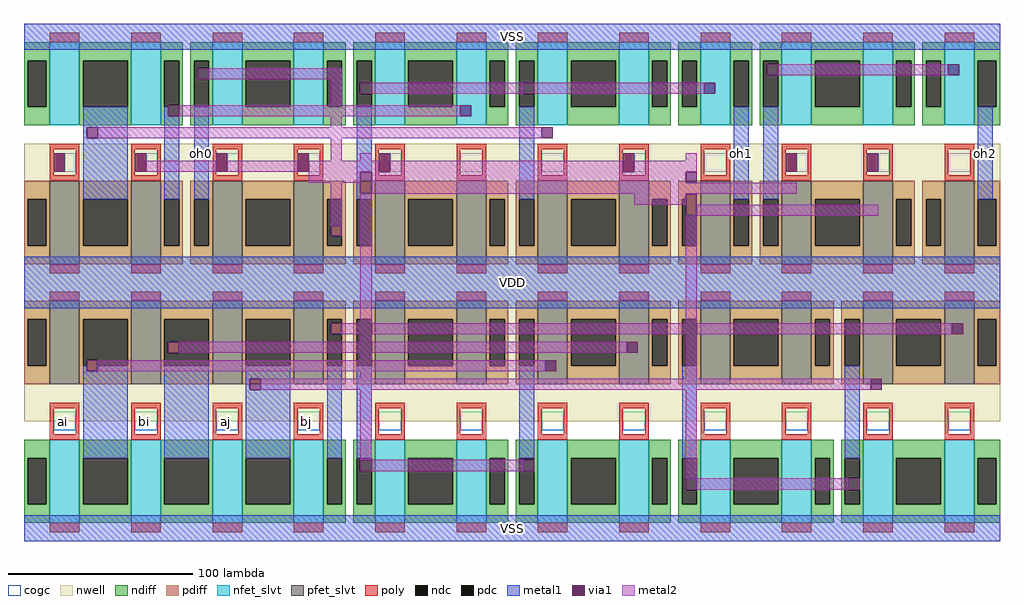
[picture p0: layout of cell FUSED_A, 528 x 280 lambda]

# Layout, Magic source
magic
tech asap5
<< nwell >>
rect 0 65 528 215
<< poly >>
rect 14 270 30 275
rect 58 270 74 275
rect 102 270 118 275
rect 146 270 162 275
rect 190 270 206 275
rect 234 270 250 275
rect 278 270 294 275
rect 322 270 338 275
rect 366 270 382 275
rect 410 270 426 275
rect 454 270 470 275
rect 498 270 514 275
rect 14 212 30 215
rect 14 210 16 212
rect 14 200 22 210
rect 14 198 16 200
rect 28 198 30 212
rect 14 195 30 198
rect 58 212 74 215
rect 58 210 60 212
rect 58 200 66 210
rect 58 198 60 200
rect 72 198 74 212
rect 58 195 74 198
rect 102 212 118 215
rect 102 210 104 212
rect 102 200 110 210
rect 102 198 104 200
rect 116 198 118 212
rect 102 195 118 198
rect 146 212 162 215
rect 146 210 148 212
rect 146 200 154 210
rect 146 198 148 200
rect 160 198 162 212
rect 146 195 162 198
rect 190 212 206 215
rect 190 210 192 212
rect 190 200 198 210
rect 190 198 192 200
rect 204 198 206 212
rect 190 195 206 198
rect 234 212 250 215
rect 234 198 236 212
rect 248 198 250 212
rect 234 195 250 198
rect 278 212 294 215
rect 278 198 280 212
rect 292 198 294 212
rect 278 195 294 198
rect 322 212 338 215
rect 322 210 324 212
rect 322 200 330 210
rect 322 198 324 200
rect 336 198 338 212
rect 322 195 338 198
rect 366 212 382 215
rect 366 198 368 212
rect 380 198 382 212
rect 366 195 382 198
rect 410 212 426 215
rect 410 210 412 212
rect 410 200 418 210
rect 410 198 412 200
rect 424 198 426 212
rect 410 195 426 198
rect 454 212 470 215
rect 454 210 456 212
rect 454 200 462 210
rect 454 198 456 200
rect 468 198 470 212
rect 454 195 470 198
rect 498 212 514 215
rect 498 198 500 212
rect 512 198 514 212
rect 498 195 514 198
rect 14 145 30 150
rect 58 145 74 150
rect 102 145 118 150
rect 146 145 162 150
rect 190 145 206 150
rect 234 145 250 150
rect 278 145 294 150
rect 322 145 338 150
rect 366 145 382 150
rect 410 145 426 150
rect 454 145 470 150
rect 498 145 514 150
rect 14 130 30 135
rect 58 130 74 135
rect 102 130 118 135
rect 146 130 162 135
rect 190 130 206 135
rect 234 130 250 135
rect 278 130 294 135
rect 322 130 338 135
rect 366 130 382 135
rect 410 130 426 135
rect 454 130 470 135
rect 498 130 514 135
rect 14 72 30 75
rect 14 58 16 72
rect 28 58 30 72
rect 14 55 30 58
rect 58 72 74 75
rect 58 58 60 72
rect 72 58 74 72
rect 58 55 74 58
rect 102 72 118 75
rect 102 58 104 72
rect 116 58 118 72
rect 102 55 118 58
rect 146 72 162 75
rect 146 58 148 72
rect 160 58 162 72
rect 146 55 162 58
rect 190 72 206 75
rect 190 58 192 72
rect 204 58 206 72
rect 190 55 206 58
rect 234 72 250 75
rect 234 58 236 72
rect 248 58 250 72
rect 234 55 250 58
rect 278 72 294 75
rect 278 58 280 72
rect 292 58 294 72
rect 278 55 294 58
rect 322 72 338 75
rect 322 58 324 72
rect 336 58 338 72
rect 322 55 338 58
rect 366 72 382 75
rect 366 58 368 72
rect 380 58 382 72
rect 366 55 382 58
rect 410 72 426 75
rect 410 58 412 72
rect 424 58 426 72
rect 410 55 426 58
rect 454 72 470 75
rect 454 58 456 72
rect 468 58 470 72
rect 454 55 470 58
rect 498 72 514 75
rect 498 58 500 72
rect 512 58 514 72
rect 498 55 514 58
rect 14 5 30 10
rect 58 5 74 10
rect 102 5 118 10
rect 146 5 162 10
rect 190 5 206 10
rect 234 5 250 10
rect 278 5 294 10
rect 322 5 338 10
rect 366 5 382 10
rect 410 5 426 10
rect 454 5 470 10
rect 498 5 514 10
<< ndiff >>
rect 0 260 14 270
rect 0 235 2 260
rect 12 235 14 260
rect 0 225 14 235
rect 30 260 58 270
rect 30 235 32 260
rect 56 235 58 260
rect 30 225 58 235
rect 74 260 86 270
rect 74 235 76 260
rect 84 236 86 260
rect 78 235 86 236
rect 74 225 86 235
rect 90 260 102 270
rect 90 235 92 260
rect 100 256 102 260
rect 94 250 102 256
rect 100 235 102 250
rect 90 225 102 235
rect 118 260 146 270
rect 118 235 120 260
rect 144 235 146 260
rect 118 225 146 235
rect 162 260 174 270
rect 162 235 164 260
rect 172 235 174 260
rect 162 225 174 235
rect 178 260 190 270
rect 178 235 180 260
rect 188 248 190 260
rect 182 242 190 248
rect 188 235 190 242
rect 178 225 190 235
rect 206 260 234 270
rect 206 235 208 260
rect 232 235 234 260
rect 206 225 234 235
rect 250 260 262 270
rect 250 235 252 260
rect 260 235 262 260
rect 250 225 262 235
rect 266 260 278 270
rect 266 235 268 260
rect 276 248 278 260
rect 270 242 278 248
rect 276 235 278 242
rect 266 225 278 235
rect 294 260 322 270
rect 294 235 296 260
rect 320 235 322 260
rect 294 225 322 235
rect 338 260 350 270
rect 338 235 340 260
rect 348 235 350 260
rect 338 225 350 235
rect 354 260 366 270
rect 354 235 356 260
rect 364 235 366 260
rect 354 225 366 235
rect 382 260 394 270
rect 382 235 384 260
rect 392 235 394 260
rect 382 225 394 235
rect 398 260 410 270
rect 398 235 400 260
rect 408 258 410 260
rect 402 252 410 258
rect 408 235 410 252
rect 398 225 410 235
rect 426 260 454 270
rect 426 235 428 260
rect 452 235 454 260
rect 426 225 454 235
rect 470 260 482 270
rect 470 235 472 260
rect 480 235 482 260
rect 470 225 482 235
rect 486 260 498 270
rect 486 235 488 260
rect 496 235 498 260
rect 486 225 498 235
rect 514 260 528 270
rect 514 235 516 260
rect 526 235 528 260
rect 514 225 528 235
rect 0 45 14 55
rect 0 20 2 45
rect 12 20 14 45
rect 0 10 14 20
rect 30 45 58 55
rect 30 20 32 45
rect 56 20 58 45
rect 30 10 58 20
rect 74 45 102 55
rect 74 20 76 45
rect 100 20 102 45
rect 74 10 102 20
rect 118 45 146 55
rect 118 20 120 45
rect 144 20 146 45
rect 118 10 146 20
rect 162 45 174 55
rect 162 20 164 45
rect 172 20 174 45
rect 162 10 174 20
rect 178 45 190 55
rect 178 20 180 45
rect 188 44 190 45
rect 182 38 190 44
rect 188 20 190 38
rect 178 10 190 20
rect 206 45 234 55
rect 206 20 208 45
rect 232 20 234 45
rect 206 10 234 20
rect 250 45 262 55
rect 250 20 252 45
rect 260 20 262 45
rect 250 10 262 20
rect 266 45 278 55
rect 266 20 268 45
rect 276 44 278 45
rect 270 38 278 44
rect 276 20 278 38
rect 266 10 278 20
rect 294 45 322 55
rect 294 20 296 45
rect 320 20 322 45
rect 294 10 322 20
rect 338 45 350 55
rect 338 20 340 45
rect 348 20 350 45
rect 338 10 350 20
rect 354 45 366 55
rect 354 20 356 45
rect 364 34 366 45
rect 358 28 366 34
rect 364 20 366 28
rect 354 10 366 20
rect 382 45 410 55
rect 382 20 384 45
rect 408 20 410 45
rect 382 10 410 20
rect 426 45 438 55
rect 426 20 428 45
rect 436 20 438 45
rect 426 10 438 20
rect 442 45 454 55
rect 442 20 444 45
rect 452 34 454 45
rect 446 28 454 34
rect 452 20 454 28
rect 442 10 454 20
rect 470 45 498 55
rect 470 20 472 45
rect 496 20 498 45
rect 470 10 498 20
rect 514 45 528 55
rect 514 20 516 45
rect 526 20 528 45
rect 514 10 528 20
<< pdiff >>
rect 0 185 14 195
rect 0 160 2 185
rect 12 160 14 185
rect 0 150 14 160
rect 30 185 58 195
rect 30 160 32 185
rect 56 160 58 185
rect 30 150 58 160
rect 74 185 86 195
rect 74 160 76 185
rect 84 160 86 185
rect 74 150 86 160
rect 90 185 102 195
rect 90 160 92 185
rect 100 160 102 185
rect 90 150 102 160
rect 118 185 146 195
rect 118 160 120 185
rect 144 160 146 185
rect 118 150 146 160
rect 162 185 174 195
rect 162 160 164 185
rect 172 171 174 185
rect 166 165 174 171
rect 172 160 174 165
rect 162 150 174 160
rect 178 185 190 195
rect 178 160 180 185
rect 188 160 190 185
rect 178 150 190 160
rect 206 185 234 195
rect 206 160 208 185
rect 232 160 234 185
rect 206 150 234 160
rect 250 185 262 195
rect 250 160 252 185
rect 260 160 262 185
rect 250 150 262 160
rect 266 185 278 195
rect 266 160 268 185
rect 276 160 278 185
rect 266 150 278 160
rect 294 185 322 195
rect 294 160 296 185
rect 320 160 322 185
rect 294 150 322 160
rect 338 185 350 195
rect 338 160 340 185
rect 348 160 350 185
rect 338 150 350 160
rect 354 185 366 195
rect 354 160 356 185
rect 358 176 366 185
rect 364 160 366 176
rect 354 150 366 160
rect 382 185 394 195
rect 382 160 384 185
rect 392 160 394 185
rect 382 150 394 160
rect 398 185 410 195
rect 398 160 400 185
rect 408 160 410 185
rect 398 150 410 160
rect 426 185 454 195
rect 426 160 428 185
rect 452 160 454 185
rect 426 150 454 160
rect 470 185 482 195
rect 470 160 472 185
rect 480 160 482 185
rect 470 150 482 160
rect 486 185 498 195
rect 486 160 488 185
rect 496 160 498 185
rect 486 150 498 160
rect 514 185 528 195
rect 514 160 516 185
rect 526 160 528 185
rect 514 150 528 160
rect 0 120 14 130
rect 0 95 2 120
rect 12 95 14 120
rect 0 85 14 95
rect 30 120 58 130
rect 30 95 32 120
rect 34 95 40 98
rect 56 95 58 120
rect 30 85 58 95
rect 74 120 102 130
rect 74 95 76 120
rect 78 102 84 108
rect 100 95 102 120
rect 74 85 102 95
rect 118 120 146 130
rect 118 95 120 120
rect 144 95 146 120
rect 118 85 146 95
rect 162 120 174 130
rect 162 95 164 120
rect 172 118 174 120
rect 166 112 174 118
rect 172 95 174 112
rect 162 85 174 95
rect 178 120 190 130
rect 178 95 180 120
rect 188 95 190 120
rect 178 85 190 95
rect 206 120 234 130
rect 206 95 208 120
rect 232 95 234 120
rect 206 85 234 95
rect 250 120 262 130
rect 250 95 252 120
rect 260 95 262 120
rect 250 85 262 95
rect 266 120 278 130
rect 266 95 268 120
rect 276 95 278 120
rect 266 85 278 95
rect 294 120 322 130
rect 294 95 296 120
rect 320 95 322 120
rect 294 85 322 95
rect 338 120 350 130
rect 338 95 340 120
rect 348 95 350 120
rect 338 85 350 95
rect 354 120 366 130
rect 354 95 356 120
rect 364 95 366 120
rect 354 85 366 95
rect 382 120 410 130
rect 382 95 384 120
rect 408 95 410 120
rect 382 85 410 95
rect 426 120 438 130
rect 426 95 428 120
rect 436 95 438 120
rect 426 85 438 95
rect 442 120 454 130
rect 442 95 444 120
rect 452 95 454 120
rect 442 85 454 95
rect 470 120 498 130
rect 470 95 472 120
rect 496 95 498 120
rect 470 85 498 95
rect 514 120 528 130
rect 514 95 516 120
rect 526 95 528 120
rect 514 85 528 95
<< nfet_slvt >>
rect 14 225 30 270
rect 58 225 74 270
rect 102 225 118 270
rect 146 225 162 270
rect 190 225 206 270
rect 234 225 250 270
rect 278 225 294 270
rect 322 225 338 270
rect 366 225 382 270
rect 410 225 426 270
rect 454 225 470 270
rect 498 225 514 270
rect 14 10 30 55
rect 58 10 74 55
rect 102 10 118 55
rect 146 10 162 55
rect 190 10 206 55
rect 234 10 250 55
rect 278 10 294 55
rect 322 10 338 55
rect 366 10 382 55
rect 410 10 426 55
rect 454 10 470 55
rect 498 10 514 55
<< pfet_slvt >>
rect 14 150 30 195
rect 58 150 74 195
rect 102 150 118 195
rect 146 150 162 195
rect 190 150 206 195
rect 234 150 250 195
rect 278 150 294 195
rect 322 150 338 195
rect 366 150 382 195
rect 410 150 426 195
rect 454 150 470 195
rect 498 150 514 195
rect 14 85 30 130
rect 58 85 74 130
rect 102 85 118 130
rect 146 85 162 130
rect 190 85 206 130
rect 234 85 250 130
rect 278 85 294 130
rect 322 85 338 130
rect 366 85 382 130
rect 410 85 426 130
rect 454 85 470 130
rect 498 85 514 130
<< metal1 >>
rect 0 266 528 280
rect 32 224 56 235
rect 32 218 34 224
rect 40 218 56 224
rect 32 185 56 218
rect 76 230 78 235
rect 76 185 84 230
rect 92 185 100 235
rect 180 200 188 235
rect 180 188 182 200
rect 180 185 188 188
rect 268 185 276 235
rect 384 185 392 235
rect 400 185 408 235
rect 516 185 524 235
rect 0 126 528 154
rect 32 92 34 95
rect 40 92 56 95
rect 32 45 56 92
rect 76 45 100 95
rect 120 88 144 95
rect 120 82 122 88
rect 128 82 144 88
rect 120 45 144 82
rect 164 45 172 95
rect 180 45 188 95
rect 268 45 276 95
rect 356 45 364 95
rect 444 45 452 95
rect 0 0 528 14
<< cogc >>
rect 22 200 28 210
rect 66 200 72 210
rect 110 200 116 210
rect 154 200 160 210
rect 198 200 204 210
rect 236 200 248 210
rect 280 200 292 210
rect 330 200 336 210
rect 368 200 380 210
rect 418 200 424 210
rect 462 200 468 210
rect 500 200 512 210
rect 16 60 28 70
rect 60 60 72 70
rect 104 60 116 70
rect 148 60 160 70
rect 192 60 204 70
rect 236 60 248 70
rect 280 60 292 70
rect 324 60 336 70
rect 368 60 380 70
rect 412 60 424 70
rect 456 60 468 70
rect 500 60 512 70
<< ndc >>
rect 2 235 12 260
rect 32 235 56 260
rect 76 236 84 260
rect 76 235 78 236
rect 92 256 100 260
rect 92 250 94 256
rect 92 235 100 250
rect 120 235 144 260
rect 164 235 172 260
rect 180 248 188 260
rect 180 242 182 248
rect 180 235 188 242
rect 208 235 232 260
rect 252 235 260 260
rect 268 248 276 260
rect 268 242 270 248
rect 268 235 276 242
rect 296 235 320 260
rect 340 235 348 260
rect 356 235 364 260
rect 384 235 392 260
rect 400 258 408 260
rect 400 252 402 258
rect 400 235 408 252
rect 428 235 452 260
rect 472 235 480 260
rect 488 235 496 260
rect 516 235 526 260
rect 2 20 12 45
rect 32 20 56 45
rect 76 20 100 45
rect 120 20 144 45
rect 164 20 172 45
rect 180 44 188 45
rect 180 38 182 44
rect 180 20 188 38
rect 208 20 232 45
rect 252 20 260 45
rect 268 44 276 45
rect 268 38 270 44
rect 268 20 276 38
rect 296 20 320 45
rect 340 20 348 45
rect 356 34 364 45
rect 356 28 358 34
rect 356 20 364 28
rect 384 20 408 45
rect 428 20 436 45
rect 444 34 452 45
rect 444 28 446 34
rect 444 20 452 28
rect 472 20 496 45
rect 516 20 526 45
<< pdc >>
rect 2 160 12 185
rect 32 160 56 185
rect 76 160 84 185
rect 92 160 100 185
rect 120 160 144 185
rect 164 171 172 185
rect 164 165 166 171
rect 164 160 172 165
rect 180 160 188 185
rect 208 160 232 185
rect 252 160 260 185
rect 268 160 276 185
rect 296 160 320 185
rect 340 160 348 185
rect 356 176 358 185
rect 356 160 364 176
rect 384 160 392 185
rect 400 160 408 185
rect 428 160 452 185
rect 472 160 480 185
rect 488 160 496 185
rect 516 160 526 185
rect 2 95 12 120
rect 32 98 56 120
rect 32 95 34 98
rect 40 95 56 98
rect 76 108 100 120
rect 76 102 78 108
rect 84 102 100 108
rect 76 95 100 102
rect 120 95 144 120
rect 164 118 172 120
rect 164 112 166 118
rect 164 95 172 112
rect 180 95 188 120
rect 208 95 232 120
rect 252 95 260 120
rect 268 95 276 120
rect 296 95 320 120
rect 340 95 348 120
rect 356 95 364 120
rect 384 95 408 120
rect 428 95 436 120
rect 444 95 452 120
rect 472 95 496 120
rect 516 95 526 120
<< metal2 >>
rect 100 250 172 256
rect 408 252 500 258
rect 166 236 172 250
rect 188 242 270 248
rect 276 242 368 248
rect 84 230 236 236
rect 166 224 172 230
rect 40 218 280 224
rect 66 200 104 206
rect 110 200 148 206
rect 166 206 172 218
rect 182 206 188 210
rect 154 200 192 206
rect 198 200 324 206
rect 358 206 364 210
rect 330 200 364 206
rect 154 194 182 200
rect 166 171 172 194
rect 188 194 358 200
rect 188 188 418 194
rect 182 118 188 188
rect 330 182 358 188
rect 364 176 462 182
rect 358 118 364 176
rect 172 112 502 118
rect 182 108 188 112
rect 84 102 326 108
rect 182 98 188 102
rect 40 92 282 98
rect 182 88 188 92
rect 358 88 364 112
rect 128 82 458 88
rect 182 44 188 82
rect 188 38 270 44
rect 358 34 364 82
rect 364 28 446 34
<< via1 >>
rect 94 250 100 256
rect 402 252 408 258
rect 500 252 506 258
rect 182 242 188 248
rect 270 242 276 248
rect 368 242 374 248
rect 78 230 84 236
rect 236 230 242 236
rect 34 218 40 224
rect 280 218 286 224
rect 16 200 22 210
rect 60 200 66 210
rect 104 200 110 210
rect 148 200 154 210
rect 192 200 198 210
rect 324 200 330 210
rect 412 200 418 210
rect 456 200 462 210
rect 166 165 172 171
rect 182 188 188 200
rect 358 194 364 200
rect 358 176 364 188
rect 166 112 172 118
rect 502 112 508 118
rect 78 102 84 108
rect 326 102 332 108
rect 34 92 40 98
rect 282 92 288 98
rect 122 82 128 88
rect 458 82 464 88
rect 182 38 188 44
rect 270 38 276 44
rect 358 28 364 34
rect 446 28 452 34
<< labels >>
flabel cogc 18 65 24 65 1 FreeSerif 1 0 0 0 ai
flabel cogc 62 65 68 65 1 FreeSerif 1 0 0 0 bi
flabel cogc 106 65 112 65 1 FreeSerif 1 0 0 0 aj
flabel cogc 150 65 156 65 1 FreeSerif 1 0 0 0 bj
flabel metal1 96 210 96 210 1 FreeSerif 1 0 0 0 oh0
flabel metal1 388 210 388 210 1 FreeSerif 1 0 0 0 oh1
flabel metal1 520 210 520 210 1 FreeSerif 1 0 0 0 oh2
flabel metal1 264 7 264 7 1 FreeSerif 1 0 0 0 VSS
rlabel metal1 264 140 264 140 1 VDD
flabel metal1 264 273 264 273 1 FreeSerif 1 0 0 0 VSS
<< end >>
